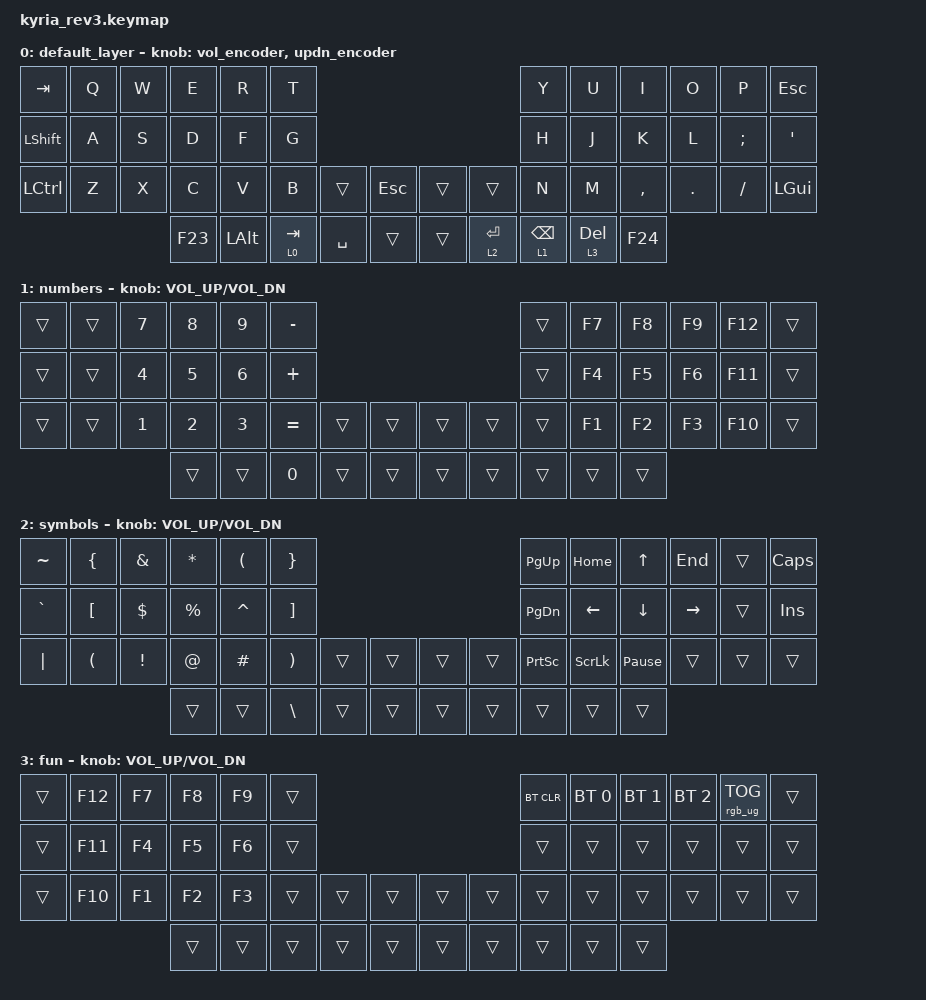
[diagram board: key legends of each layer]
/*
 * Copyright (c) 2020 The ZMK Contributors
 *
 * SPDX-License-Identifier: MIT
 */

#include <behaviors.dtsi>
#include <dt-bindings/zmk/bt.h>
#include <dt-bindings/zmk/keys.h>
#include <dt-bindings/zmk/rgb.h>

#define DEFAULT 	0
#define NAV 		1
#define NUM 		2
#define SYM 		3
#define FUN 		4
#define GAMING		5

&sensors {
    left_config { triggers-per-rotation = <36>; };

    right_config { triggers-per-rotation = <36>; };
};

// Uncomment this block if using RGB
/*
* &led_strip {
*    chain-length = <6>;
*    // chain-length = <31>; // Uncomment if using both per-key and underglow LEDs
*    // chain-length = <25>; // Uncomment if using only per-key LEDs.
} ;
*/

/ {
    behaviors {
        vol_encoder: vol_encoder {
            compatible = "zmk,behavior-sensor-rotate";
            #sensor-binding-cells = <0>;
            bindings = <&kp C_VOL_UP>, <&kp C_VOL_DN>;
        };

        updn_encoder: updn_encoder {
            compatible = "zmk,behavior-sensor-rotate";
            #sensor-binding-cells = <0>;
            bindings = <&kp PG_UP>, <&kp PG_DN>;
        };
    };

    /* 
* KEYMAP 
*/

    keymap {
        compatible = "zmk,keymap";

        /*
 * Base Layer: QWERTY
 *
 * ,-------------------------------------------.                              ,-------------------------------------------.
 * | TAB  |   Q |   W  |   E  |   R  |   T  |                                 |   Y  |   U  |   I  |   O  |   P  |   ESC  |
 * |--------+------+------+------+------+------|                              |------+------+------+------+------+--------|
 * | LSFT |   A  |   S  |  D   |   F  |   G  |                                |   H  |   J  |   K  |   L  | ;  : |  ' "   |
 * |--------+------+------+------+------+------+-------------.  ,-------------+------+------+------+------+------+--------|
 * | LCTL |   Z  |   X  |   C  |   V  |   B  |RAISE | ESC	 |  |Adjust|LOWER |   N  |   M  | ,  < | . >  | /  ? |        |
 * `----------------------+------+------+------+------+------|  |------+------+------+------+------+----------------------'
 *                        | F23  | LALT |LOWER | SPACE| DEL  |  | BSPC | Space|RAISE | LGUI | F24  |
 *                        `----------------------------------'  `----------------------------------'
 */

        default_layer {
            bindings = <
&kp TAB    &kp Q  &kp W  &kp E    &kp R     &kp T                                             &kp Y       &kp U      &kp I      &kp O       &kp P      &kp ESC
&kp LSHFT  &kp A  &kp S  &kp D    &kp F     &kp G                                             &kp H       &kp J      &kp K      &kp L       &kp SEMI   &kp SQT
&kp LCTRL  &kp Z  &kp X  &kp C    &kp V     &kp B      &trans     &kp ESC  &trans  &trans     &kp N       &kp M      &kp COMMA  &kp PERIOD  &kp SLASH  &kp LGUI
                         &kp F23  &kp LALT  &lt 0 TAB  &kp SPACE  &trans   &trans  &lt 2 RET  &lt 1 BSPC  &lt 3 DEL  &kp F24
            >;

            sensor-bindings = <&vol_encoder &updn_encoder>;
        };

        /*
 * MO Layer: Nav
 */
        /*
 * MO Layer: Num
 */

        numbers {
            bindings = <
&trans  &trans  &kp N7  &kp N8  &kp N9  &kp MINUS                                  &trans  &kp F7  &kp F8  &kp F9  &kp F12  &trans
&trans  &trans  &kp N4  &kp N5  &kp N6  &kp PLUS                                   &trans  &kp F4  &kp F5  &kp F6  &kp F11  &trans
&trans  &trans  &kp N1  &kp N2  &kp N3  &kp EQUAL  &trans  &trans  &trans  &trans  &trans  &kp F1  &kp F2  &kp F3  &kp F10  &trans
                        &trans  &trans  &kp N0     &trans  &trans  &trans  &trans  &trans  &trans  &trans
            >;

            sensor-bindings = <&inc_dec_kp C_VOL_UP C_VOL_DN>;
        };

        /*
 * MO Layer: Sym
 */

        symbols {
            bindings = <
&kp TILDE  &kp LBRC          &kp AMPS  &kp STAR   &kp LPAR   &kp RBRC                                           &kp PG_UP  &kp HOME  &kp UP           &kp END    &trans  &kp CAPS
&kp GRAVE  &kp LEFT_BRACKET  &kp DLLR  &kp PRCNT  &kp CARET  &kp RIGHT_BRACKET                                  &kp PG_DN  &kp LEFT  &kp DOWN         &kp RIGHT  &trans  &kp INS
&kp PIPE   &kp LPAR          &kp EXCL  &kp AT     &kp POUND  &kp RPAR           &trans  &trans  &trans  &trans  &kp PSCRN  &kp SLCK  &kp PAUSE_BREAK  &trans     &trans  &trans
                                       &trans     &trans     &kp BACKSLASH      &trans  &trans  &trans  &trans  &trans     &trans    &trans
            >;

            sensor-bindings = <&inc_dec_kp C_VOL_UP C_VOL_DN>;
        };

        /*
 * MO Layer: Fun
 */

        fun {
            bindings = <
&trans  &kp F12  &kp F7  &kp F8  &kp F9  &trans                                  &bt BT_CLR  &bt BT_SEL 0  &bt BT_SEL 1  &bt BT_SEL 2  &rgb_ug RGB_TOG  &trans
&trans  &kp F11  &kp F4  &kp F5  &kp F6  &trans                                  &trans      &trans        &trans        &trans        &trans           &trans
&trans  &kp F10  &kp F1  &kp F2  &kp F3  &trans  &trans  &trans  &trans  &trans  &trans      &trans        &trans        &trans        &trans           &trans
                         &trans  &trans  &trans  &trans  &trans  &trans  &trans  &trans      &trans        &trans
            >;

            sensor-bindings = <&inc_dec_kp C_VOL_UP C_VOL_DN>;
        };

        /*
 * Base Layer: GAMING
 */
        /*
* Layer template
*
* ,-------------------------------------------.                              ,-------------------------------------------.
* |        |      |      |      |      |      |                              |      |      |      |      |      |        |
* |        |      |      |      |      |      |                              |      |      |      |      |      |        |
* |--------+------+------+------+------+------|                              |------+------+------+------+------+--------|
* |        |      |      |      |      |      |                              |      |      |      |      |      |        |
* |        |      |      |      |      |      |                              |      |      |      |      |      |        |
* |--------+------+------+------+------+------+-------------.  ,-------------+------+------+------+------+------+--------|
* |        |      |      |      |      |      |      |      |  |      |      |      |      |      |      |      |        |
* |        |      |      |      |      |      |      |      |  |      |      |      |      |      |      |      |        |
* `----------------------+------+------+------+------+------|  |------+------+------+------+------+----------------------'
*                        |      |      |      |      |      |  |      |      |      |      |      |
*                        |      |      |      |      |      |  |      |      |      |      |      |
*                        `----------------------------------'  `----------------------------------'
*
*
*		nothing {
*			bindings = <
*	&trans 	&trans 	&trans 	&trans 	&trans 	&trans 										&trans 	&trans 	&trans 	&trans 	&trans 	&trans
*	&trans 	&trans 	&trans 	&trans 	&trans 	&trans 										&trans 	&trans 	&trans 	&trans 	&trans 	&trans
*	&trans 	&trans 	&trans 	&trans 	&trans 	&trans 	&trans 	&trans						&trans &trans 	&trans 	&trans 	&trans 	&trans 	&trans 	&trans
*				&trans 	&trans 	&trans 	&trans 	&trans 						&trans &trans 	&trans 	&trans 	&trans
*			>;
*			sensor-bindings = <&inc_dec_kp C_VOL_UP C_VOL_DN>;
*		};
*/
    };
};
